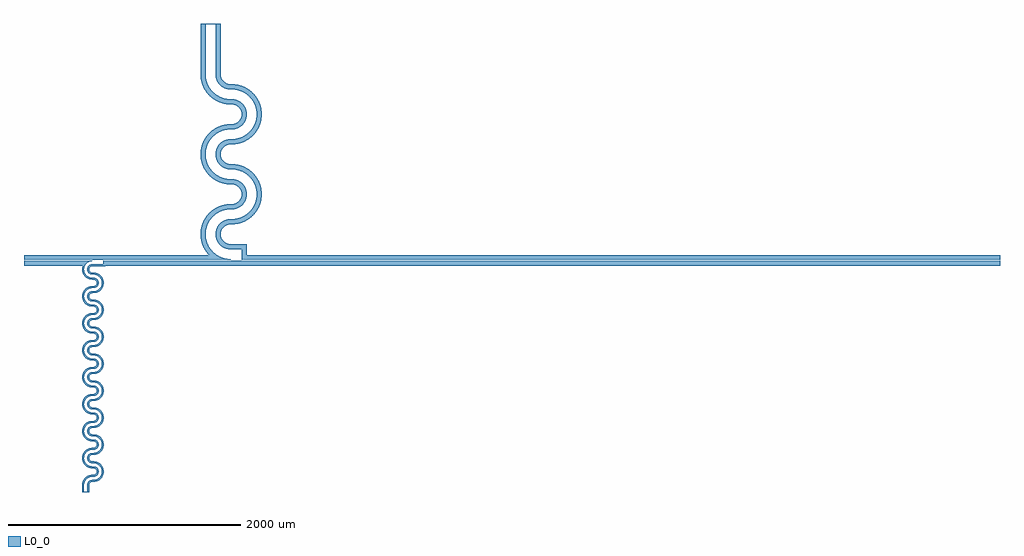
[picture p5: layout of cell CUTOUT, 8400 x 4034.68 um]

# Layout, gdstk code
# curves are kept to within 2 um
import gdstk
lib = gdstk.Library(unit=1e-6, precision=1e-09)
def R(c, l, rs):  # rectangles x0, y0, x1, y1
    for r in rs: c.add(gdstk.rectangle(r[:2], r[2:], *l))
def P(c, l, *ps):  # polygons
    for p in ps: c.add(gdstk.Polygon(p, *l))
L0_0 = (0, 0)

cutout = lib.new_cell('CUTOUT')
R(cutout, L0_0, [(800,2551.4,2363.04,2591.4), (2363.04,2551.4,2389.755,2591.4), (2363.04,4575.958,2389.755,4582.958)])
P(cutout, L0_0, [(1431.793,2271.122),(1445.737,2278.44),(1456.192,2286.38),(1456.192,2307.602),(1444.898,2295.791),(1429.351,2285.901),(1429.351,2270.154)],
  [(1431.793,2039.122),(1445.737,2046.44),(1456.192,2054.38),(1456.192,2075.602),(1444.898,2063.791),(1429.351,2053.901),(1429.351,2038.154)],
  [(1431.793,1807.122),(1445.737,1814.44),(1456.192,1822.38),(1456.192,1843.602),(1444.898,1831.791),(1429.351,1821.901),(1429.351,1806.154)],
  [(1431.793,1575.122),(1445.737,1582.44),(1456.192,1590.38),(1456.192,1611.602),(1444.898,1599.791),(1429.351,1589.901),(1429.351,1574.154)],
  [(1431.793,1343.122),(1445.737,1350.44),(1456.192,1358.38),(1456.192,1379.602),(1444.898,1367.791),(1429.351,1357.901),(1429.351,1342.154)],
  [(1431.793,1111.122),(1445.737,1118.44),(1456.192,1126.38),(1456.192,1147.602),(1444.898,1135.791),(1429.351,1125.901),(1429.351,1110.154)],
  [(1431.793,879.122),(1445.737,886.44),(1456.192,894.38),(1456.192,915.602),(1444.898,903.791),(1429.351,893.901),(1429.351,878.154)],
  [(1431.793,647.122),(1445.737,654.44),(1456.192,662.38),(1456.192,683.602),(1444.898,671.791),(1429.351,661.901),(1429.351,646.154)],
  [(2768.817,2930.364),(2808.337,2980.178),(2833.09,3033.808),(2844.996,3091.662),(2842.752,3155.21),(2833.09,3194.992),(2819.309,3228.681),(2800.925,3260.095),(2777.646,3289.314),(2713.021,3289.314),(2744.385,3261.942),(2769.887,3229.039),(2790.034,3187.934),(2800.418,3147.622),(2802.96,3110.231),(2798.127,3068.884),(2785.416,3029.243),(2765.54,2993.145),(2765.54,2927.201)],
  [(2775.199,3291.94),(2751.893,3313.656),(2722.222,3334.737),(2664.254,3360.874),(2619.794,3370.434),(2559.719,3374.365),(2526.378,3389.617),(2468.868,3389.617),(2498.975,3356.439),(2538.613,3335.56),(2563.024,3330.272),(2608.814,3328.39),(2641.63,3322.604),(2680.748,3308.366),(2713.021,3289.314),(2777.646,3289.314)],
  [(2525.241,3390.484),(2510.084,3405.641),(2499.146,3424.076),(2493.107,3444.643),(2492.342,3466.065),(2496.899,3487.011),(2506.494,3506.179),(2520.531,3522.379),(2538.138,3534.604),(2473.921,3534.604),(2458.582,3507.188),(2450.187,3475.858),(2449.872,3443.424),(2456.78,3414.279),(2468.868,3389.617)],
  [(2539.505,3535.303),(2564.243,3543.293),(2615.27,3545.845),(2655.508,3553.389),(2689.879,3565.367),(2726.089,3584.466),(2765.54,3615.201),(2765.54,3681.145),(2747.217,3657.918),(2726.199,3637.7),(2676.969,3606.672),(2625.334,3590.666),(2548.251,3583.923),(2507.113,3566.178),(2489.475,3552.231),(2473.921,3534.604)],
  [(2500.967,2732.171),(2494.305,2750.622),(2492,2770.4),(2494.305,2790.178),(2500.967,2808.629),(2500.967,2873.874),(2479.18,2853.32),(2462.721,2828.295),(2452.477,2800.149),(2449,2770.4),(2452.477,2740.651),(2462.721,2712.505),(2479.18,2687.48),(2500.967,2666.926)],
  [(2501.097,2808.895),(2512.011,2825.549),(2525.241,2838.316),(2558.222,2854.095),(2558.222,2897.874),(2529.212,2889.818),(2500.967,2873.874)],
  [(2558.222,2686.705),(2540.884,2692.822),(2524.038,2703.437),(2500.967,2732.171),(2500.967,2666.926),(2529.212,2650.982),(2558.222,2642.926)],
  [(2559.719,2854.435),(2615.27,2857.845),(2655.508,2865.389),(2698.181,2881.11),(2733.695,2901.475),(2765.54,2927.201),(2765.54,2993.145),(2747.217,2969.918),(2726.199,2949.7),(2676.969,2918.672),(2625.334,2902.666),(2558.222,2897.874)],
  [(9200,2591.4),(2718.209,2591.4),(2718.209,2684.4),(2576.465,2684.414),(2558.222,2686.705),(2558.222,2642.926),(2675.209,2641.4),(2675.209,2551.4),(9200,2551.4)],
  [(2363.04,4142.231),(2363.04,4582.958),(2320,4582.958),(2321.445,4119.13),(2335.907,4057.209),(2363.04,4003.737)],
  [(2363.04,3454.231),(2363.04,3601.063),(2344.71,3568.581),(2331.526,3534.654),(2322.567,3494.707),(2320,3458.4),(2322.567,3422.093),(2331.526,3382.146),(2344.71,3348.219),(2363.04,3315.737)],
  [(2363.04,2766.231),(2363.04,2913.063),(2344.71,2880.581),(2331.526,2846.654),(2322.567,2806.707),(2320,2770.4),(2322.567,2734.093),(2331.526,2694.146),(2344.71,2660.219),(2363.04,2627.737)],
  [(2389.755,4042.531),(2378.969,4065.087),(2370.875,4088.743),(2365.582,4113.178),(2363.04,4142.231),(2363.04,4003.737),(2389.755,3969.982)],
  [(2363.162,3466.737),(2365.582,3491.622),(2370.875,3516.057),(2378.969,3539.713),(2389.755,3562.269),(2389.755,3634.818),(2363.04,3601.063)],
  [(2389.755,3354.531),(2378.969,3377.087),(2370.875,3400.743),(2365.582,3425.178),(2363.04,3454.231),(2363.04,3315.737),(2389.755,3281.982)],
  [(2363.162,2778.737),(2365.582,2803.622),(2370.875,2828.057),(2378.969,2851.713),(2389.755,2874.269),(2389.755,2946.817),(2363.04,2913.063)],
  [(2389.755,2666.531),(2378.969,2689.087),(2370.875,2712.743),(2365.582,2737.178),(2363.04,2766.231),(2363.04,2627.737),(2389.755,2593.982)],
  [(2449.024,4582.958),(2389.755,4582.958),(2389.755,4575.958),(2449,4575.958),(2449,4146.4),(2449.024,4143.899)],
  [(2449.024,3974.39),(2416.011,4005.033),(2389.755,4042.531),(2389.755,3969.982),(2417.649,3944.283),(2449.024,3922.962)],
  [(2391.805,3565.9),(2416.011,3599.767),(2449.024,3630.41),(2449.024,3681.838),(2417.649,3660.517),(2389.755,3634.818),(2389.755,3562.269)],
  [(2449.024,3286.39),(2416.011,3317.033),(2389.755,3354.531),(2389.755,3281.982),(2417.649,3256.283),(2449.024,3234.962)],
  [(2391.805,2877.9),(2416.011,2911.767),(2449.024,2942.41),(2449.024,2993.838),(2417.649,2972.517),(2389.755,2946.817),(2389.755,2874.269)],
  [(2449.024,2598.39),(2416.011,2629.033),(2389.755,2666.531),(2389.755,2593.982),(2392.21,2591.4),(2389.755,2591.4),(2389.755,2551.4),(2449.024,2551.4)],
  [(2496.401,4119.247),(2492.013,4144.882),(2492,4582.958),(2449.024,4582.958),(2449.606,4133.911),(2454.419,4109.402),(2463.866,4086.28),(2477.591,4065.412),(2496.401,4046.494)],
  [(2496.401,3947.489),(2449.024,3974.39),(2449.024,3922.962),(2451.638,3921.463),(2496.401,3901.651)],
  [(2449.611,3630.856),(2496.401,3657.311),(2496.401,3703.149),(2449.024,3681.838)],
  [(2496.401,3259.489),(2449.024,3286.39),(2449.024,3234.962),(2451.638,3233.463),(2496.401,3213.651)],
  [(2449.611,2942.856),(2496.401,2969.311),(2496.401,3015.149),(2449.024,2993.838)],
  [(2496.401,2571.489),(2449.024,2598.39),(2449.024,2551.4),(2496.401,2551.4)],
  [(2541.693,4068.443),(2513.551,4089.459),(2496.401,4119.247),(2496.401,4046.494),(2517.88,4032.266),(2541.693,4022.62)],
  [(2541.693,3934.495),(2496.401,3947.489),(2496.401,3901.651),(2541.693,3890.967)],
  [(2496.687,3657.431),(2541.693,3670.305),(2541.693,3713.833),(2496.401,3703.149)],
  [(2541.693,3246.495),(2496.401,3259.489),(2496.401,3213.651),(2541.693,3202.967)],
  [(2496.687,2969.431),(2541.693,2982.305),(2541.693,3025.833),(2496.401,3015.149)],
  [(2541.693,2558.495),(2520.343,2563.275),(2496.401,2571.489),(2496.401,2551.4),(2541.693,2551.4)],
  [(2597.193,4060.235),(2565.898,4061.256),(2541.693,4068.443),(2541.693,4022.62),(2565.511,4018.006),(2597.193,4017.196)],
  [(2597.193,3931.067),(2541.693,3934.495),(2541.693,3890.967),(2597.193,3887.907)],
  [(2543.406,3670.59),(2597.193,3673.733),(2597.193,3716.893),(2541.693,3713.833)],
  [(2597.193,3243.067),(2541.693,3246.495),(2541.693,3202.967),(2597.193,3199.907)],
  [(2543.406,2982.59),(2597.193,2985.733),(2597.193,3028.893),(2541.693,3025.833)],
  [(2578,2555.4),(2561.339,2556.047),(2541.693,2558.495),(2541.693,2551.4),(2578,2551.4)],
  [(2632.121,4056.591),(2597.193,4060.235),(2597.193,4017.196),(2632.121,4012.815)],
  [(2632.121,3923.62),(2597.193,3931.067),(2597.193,3887.907),(2615.159,3883.999),(2632.121,3876.217)],
  [(2597.997,3673.788),(2632.121,3681.18),(2632.121,3728.583),(2615.159,3720.801),(2597.193,3716.893)],
  [(2632.121,3235.62),(2597.193,3243.067),(2597.193,3199.907),(2615.159,3195.999),(2632.121,3188.217)],
  [(2597.997,2985.788),(2632.121,2993.18),(2632.121,3040.583),(2615.159,3032.801),(2597.193,3028.893)],
  [(2662.733,4049.33),(2632.121,4056.591),(2632.121,4012.815),(2662.733,4003.984)],
  [(2662.733,3907.543),(2632.121,3923.62),(2632.121,3876.217),(2649.887,3862.116),(2662.733,3844.956)],
  [(2634.463,3682.058),(2662.733,3697.257),(2662.733,3759.844),(2649.887,3742.684),(2632.121,3728.583),(2632.121,3681.18)],
  [(2662.733,3219.543),(2632.121,3235.62),(2632.121,3188.217),(2649.887,3174.116),(2662.733,3156.956)],
  [(2634.463,2994.058),(2662.733,3009.257),(2662.733,3071.844),(2649.887,3054.684),(2632.121,3040.583),(2632.121,2993.18)],
  [(2684.492,4041.668),(2662.733,4049.33),(2662.733,4003.984),(2684.492,3994.531)],
  [(2663.012,3697.452),(2684.492,3716.792),(2684.492,3888.008),(2662.733,3907.543),(2662.733,3844.956),(2671.329,3823.668),(2674,3802.4),(2671.329,3781.132),(2662.733,3759.844)],
  [(2663.012,3009.452),(2684.492,3028.792),(2684.492,3200.008),(2662.733,3219.543),(2662.733,3156.956),(2671.329,3135.668),(2674,3114.4),(2671.329,3093.132),(2662.733,3071.844)],
  [(2735.542,4014.037),(2684.492,4041.668),(2684.492,3994.531),(2713.021,3977.314),(2735.542,3958.785)],
  [(2685.193,3717.58),(2708.342,3755.937),(2714.582,3777.54),(2717,3802.4),(2714.582,3827.26),(2708.342,3848.863),(2698.446,3869.054),(2684.492,3888.008)],
  [(2685.193,3029.58),(2708.342,3067.937),(2714.582,3089.54),(2717,3114.4),(2714.582,3139.26),(2708.342,3160.863),(2698.446,3181.054),(2684.492,3200.008)],
  [(2768.817,3618.364),(2803.463,3660.486),(2830.093,3713.209),(2844.034,3770.606),(2844.996,3825.138),(2833.09,3882.992),(2810.672,3932.712),(2778.303,3976.609),(2735.542,4014.037),(2735.542,3958.785),(2762.914,3927.421),(2781.966,3895.148),(2795.125,3860.057),(2802.353,3819.061),(2801.99,3781.586),(2796.204,3748.77),(2783.728,3713.431),(2765.54,3681.145),(2765.54,3615.201)],
  [(1385.824,2496.376),(1498.454,2496.5),(1498.454,2500),(9200,2500),(9200,2540),(1483.954,2540),(1483.954,2511),(1384.936,2510.848)],
  [(1458.132,2288.152),(1475.535,2311.069),(1484.075,2335.818),(1484.51,2364.59),(1476.721,2389.586),(1461.848,2411.132),(1438.931,2428.535),(1414.182,2437.075),(1384.936,2438.72),(1384.936,2424.152),(1412.791,2422.578),(1433.006,2415.262),(1451.84,2400.603),(1463.894,2382.802),(1469.332,2366.964),(1470.911,2347.905),(1466.673,2326.829),(1456.192,2307.602),(1456.192,2286.38)],
  [(1458.132,2056.152),(1472.953,2074.492),(1482.972,2098.68),(1485.341,2124.753),(1480.741,2147.88),(1468.574,2171.062),(1448.047,2191.011),(1410.433,2191.011),(1428.717,2185.403),(1444.898,2175.209),(1457.85,2161.139),(1466.673,2144.171),(1470.199,2130.249),(1470.752,2113.513),(1465.82,2092.588),(1456.192,2075.602),(1456.192,2054.38)],
  [(1447.922,2191.1),(1434.206,2198.835),(1419.32,2203.972),(1378.013,2208.462),(1365.358,2218.024),(1359.624,2232.824),(1345.088,2232.824),(1347.596,2220.697),(1352.89,2210.517),(1361.782,2201.172),(1371.687,2195.38),(1385.625,2192.095)],
  [(1359.555,2233.715),(1362.155,2247.621),(1371.024,2258.642),(1383.171,2264.006),(1408.987,2265.134),(1429.351,2270.154),(1429.351,2285.901),(1410.433,2279.989),(1378.52,2277.84),(1362.931,2270.692),(1350.59,2256.833),(1345.149,2239.092),(1345.088,2232.824)],
  [(1458.132,1824.152),(1472.953,1842.492),(1482.305,1864.138),(1485.5,1887.5),(1481.561,1913.383),(1468.574,1939.062),(1449.372,1958.066),(1415.133,1958.066),(1430.879,1952.368),(1446.714,1941.645),(1459.195,1927.154),(1467.452,1909.904),(1470.515,1895.873),(1470.515,1879.127),(1465.82,1860.588),(1456.192,1843.602),(1456.192,1822.38)],
  [(1447.922,1959.1),(1434.206,1966.835),(1419.32,1971.972),(1377.196,1976.794),(1364.83,1986.745),(1359.584,2001.343),(1345.054,2001.343),(1347.596,1988.697),(1352.89,1978.517),(1361.782,1969.172),(1371.687,1963.38),(1382.763,1960.38),(1415.133,1958.066)],
  [(1359.555,2001.715),(1362.155,2015.621),(1371.024,2026.642),(1383.171,2032.006),(1408.987,2033.134),(1429.351,2038.154),(1429.351,2053.901),(1410.433,2047.989),(1378.52,2045.84),(1362.931,2038.692),(1350.59,2024.833),(1345.149,2007.092),(1345.054,2001.343)],
  [(1458.132,1592.152),(1472.953,1610.492),(1482.972,1634.68),(1485.341,1660.753),(1480.741,1683.88),(1468.574,1707.062),(1448.654,1726.578),(1412.791,1726.578),(1430.879,1720.368),(1446.714,1709.645),(1459.195,1695.154),(1467.452,1677.904),(1470.515,1663.873),(1470.515,1647.127),(1465.82,1628.588),(1456.192,1611.602),(1456.192,1590.38)],
  [(1447.922,1727.1),(1434.206,1734.835),(1419.32,1739.972),(1377.196,1744.794),(1364.83,1754.745),(1359.555,1769.715),(1345.042,1769.715),(1347.129,1758.058),(1352.89,1746.517),(1361.782,1737.172),(1371.687,1731.38),(1385.625,1728.095)],
  [(1359.514,1770.607),(1363.385,1786),(1375.574,1797.46),(1384.936,1800.28),(1411.59,1801.49),(1429.351,1806.154),(1429.351,1821.901),(1410.433,1815.989),(1378.52,1813.84),(1362.931,1806.692),(1350.59,1792.833),(1345.149,1775.092),(1345.042,1769.715)],
  [(1458.132,1360.152),(1474.161,1380.56),(1482.972,1402.68),(1485.341,1428.753),(1480.741,1451.88),(1468.574,1475.062),(1448.654,1494.578),(1412.791,1494.578),(1430.879,1488.368),(1446.714,1477.645),(1459.195,1463.154),(1467.452,1445.904),(1470.515,1431.873),(1470.515,1415.127),(1465.82,1396.588),(1456.192,1379.602),(1456.192,1358.38)],
  [(1447.922,1495.1),(1434.206,1502.835),(1419.32,1507.972),(1377.196,1512.794),(1364.83,1522.745),(1359.555,1537.715),(1345.042,1537.715),(1347.129,1526.058),(1352.89,1514.517),(1361.782,1505.172),(1371.687,1499.38),(1385.625,1496.095)],
  [(1359.514,1538.607),(1363.385,1554),(1375.574,1565.46),(1384.936,1568.28),(1411.59,1569.49),(1429.351,1574.154),(1429.351,1589.901),(1410.433,1583.989),(1378.52,1581.84),(1362.931,1574.692),(1350.59,1560.833),(1345.149,1543.092),(1345.042,1537.715)],
  [(1458.132,1128.152),(1472.953,1146.492),(1482.972,1170.68),(1485.341,1196.753),(1479.846,1222.351),(1466.985,1245.155),(1447.73,1263.228),(1408.987,1263.228),(1428.717,1257.403),(1444.898,1247.209),(1457.85,1233.139),(1466.673,1216.171),(1470.199,1202.249),(1470.752,1185.513),(1465.82,1164.588),(1456.192,1147.602),(1456.192,1126.38)],
  [(1445.737,1264.56),(1431.793,1271.878),(1419.32,1275.972),(1384.936,1278.72),(1377.196,1280.794),(1369.632,1285.477),(1364.326,1291.481),(1359.511,1306.781),(1345.006,1306.781),(1346.707,1295.433),(1352.083,1283.708),(1360.661,1274.075),(1371.687,1267.38),(1387.062,1264.024),(1447.73,1263.228)],
  [(1359.5,1307.5),(1363.844,1322.767),(1375.574,1333.46),(1384.936,1336.28),(1411.59,1337.49),(1429.351,1342.154),(1429.351,1357.901),(1410.433,1351.989),(1378.52,1349.84),(1362.931,1342.692),(1350.59,1328.833),(1345.149,1311.092),(1345.006,1306.781)],
  [(1458.132,896.152),(1472.953,914.492),(1482.972,938.68),(1485.341,964.753),(1479.846,990.351),(1466.985,1013.155),(1447.73,1031.228),(1408.987,1031.228),(1428.717,1025.403),(1444.898,1015.209),(1457.85,1001.139),(1466.673,984.171),(1470.199,970.249),(1470.752,953.513),(1465.82,932.588),(1456.192,915.602),(1456.192,894.38)],
  [(1445.737,1032.56),(1431.793,1039.878),(1419.32,1043.972),(1384.936,1046.72),(1377.196,1048.794),(1364.83,1058.745),(1359.555,1073.715),(1345.042,1073.715),(1347.129,1062.058),(1352.89,1050.517),(1361.782,1041.172),(1371.687,1035.38),(1387.062,1032.024),(1447.73,1031.228)],
  [(1359.514,1074.607),(1363.385,1090),(1375.574,1101.46),(1384.936,1104.28),(1411.59,1105.49),(1429.351,1110.154),(1429.351,1125.901),(1410.433,1119.989),(1378.52,1117.84),(1362.931,1110.692),(1350.59,1096.833),(1345.149,1079.092),(1345.042,1073.715)],
  [(1458.132,664.152),(1474.278,684.761),(1483.562,709.24),(1485.143,735.373),(1478.878,760.793),(1465.333,783.199),(1446.813,799.841),(1403.292,799.841),(1422.041,796.072),(1441.114,786.154),(1454.969,772.97),(1465.82,754.412),(1470.199,738.249),(1470.752,721.513),(1465.82,700.588),(1456.192,683.602),(1456.192,662.38)],
  [(1445.737,800.56),(1431.793,807.878),(1419.32,811.972),(1384.936,814.72),(1377.196,816.794),(1369.632,821.477),(1364.326,827.481),(1359.511,842.781),(1345.006,842.781),(1346.707,831.433),(1352.083,819.708),(1360.661,810.075),(1371.687,803.38),(1387.062,800.024)],
  [(1359.5,843.5),(1363.844,858.767),(1375.574,869.46),(1384.936,872.28),(1411.59,873.49),(1429.351,878.154),(1429.351,893.901),(1410.433,887.989),(1378.52,885.84),(1362.931,878.692),(1350.59,864.833),(1345.149,847.092),(1345.006,842.781)],
  [(1359.5,611.5),(1363.682,626.503),(1375.805,637.574),(1385.004,640.289),(1411.59,641.49),(1429.351,646.154),(1429.351,661.901),(1410.433,655.989),(1375.612,653.047),(1363.881,647.363),(1354.361,638.459),(1348.452,628.482),(1345.218,615.854),(1345,555.281),(1316,555.281),(1317.453,625.941),(1323.792,644.198),(1336.385,661.901),(1317.598,661.901),(1308.122,644.793),(1302.49,624.59),(1301.5,548.281),(1359.5,548.281)],
  [(1338.099,663.615),(1349.489,672.61),(1364.718,679.989),(1381.243,683.636),(1407.075,684.853),(1424.069,692.308),(1433.265,701.353),(1439.404,712.697),(1441.851,723.908),(1440.999,736.779),(1425.971,736.779),(1427.486,726.607),(1425.542,717.024),(1420.523,708.632),(1412.22,701.951),(1402.064,698.72),(1367.68,695.972),(1352.794,690.835),(1339.078,683.1),(1326.982,673.018),(1317.598,661.901),(1336.385,661.901)],
  [(1440.669,738.179),(1433.265,753.647),(1420.457,765.052),(1407.075,770.147),(1376.567,771.989),(1358.283,777.597),(1345.886,784.846),(1335.16,794.397),(1326.528,805.875),(1320.327,818.829),(1305.081,818.829),(1311.465,803.069),(1320.015,789.845),(1330.808,778.38),(1343.492,769.047),(1370.24,758.438),(1407.291,755.135),(1418.688,748.319),(1425.971,736.779),(1440.999,736.779)],
  [(1319.548,821.096),(1316.089,839.905),(1318.218,861.298),(1325.317,879.056),(1336.813,894.34),(1349.855,904.842),(1367.239,912.813),(1381.319,915.644),(1404.237,916.38),(1415.313,919.38),(1427.429,927.013),(1435.683,936.925),(1416.703,936.925),(1403.829,930.994),(1380.627,930.143),(1365.138,927.305),(1343.492,917.953),(1326.982,905.018),(1310.279,881.586),(1304.695,866.862),(1301.857,851.373),(1301.857,835.627),(1305.081,818.829),(1320.327,818.829)],
  [(1436.41,938.167),(1441.709,954.476),(1440.669,970.179),(1434.11,984.483),(1422.891,995.518),(1413.977,1000.154),(1402.808,1002.786),(1338.346,1004.422),(1350.414,997.279),(1365.138,991.695),(1380.627,988.857),(1402.948,988.157),(1414.519,983.674),(1423.615,974),(1427.445,961.285),(1425.206,948.196),(1416.703,936.925)],
  [(1371.867,1004.934),(1358.283,1009.597),(1345.718,1016.972),(1333.566,1028.188),(1325.317,1039.944),(1319.548,1053.096),(1316.485,1067.127),(1316.485,1083.873),(1319.548,1097.904),(1325.317,1111.056),(1332.031,1120.97),(1342.102,1131.209),(1353.994,1139.262),(1374.209,1146.578),(1404.237,1148.38),(1417.927,1152.579),(1348.156,1152.579),(1334.845,1143.985),(1321.667,1131.199),(1311.465,1115.931),(1305.439,1101.383),(1301.857,1083.373),(1302.49,1062.41),(1308.122,1042.207),(1316.9,1026.078),(1326.982,1013.982),(1338.346,1004.422)],
  [(1419.204,1153.243),(1432.381,1164.218),(1440.293,1179.433),(1441.709,1196.524),(1437.094,1211.568),(1430.774,1220.659),(1383.247,1220.659),(1405.573,1219.624),(1413,1216.615),(1419.319,1211.688),(1424.46,1204.426),(1427.157,1195.948),(1427.157,1187.052),(1424.46,1178.574),(1417.368,1169.477),(1408.138,1164.149),(1372.818,1161.075),(1360.12,1157.741),(1348.156,1152.579)],
  [(1430.504,1220.962),(1420.457,1229.052),(1409.874,1233.487),(1378.938,1235.633),(1360.479,1240.634),(1345.886,1248.846),(1333.566,1260.188),(1321.18,1280.588),(1316.01,1306.301),(1320.327,1332.171),(1333.503,1354.737),(1315.44,1354.737),(1304.028,1328.32),(1301.857,1299.627),(1308.122,1274.207),(1323.38,1249.808),(1341.263,1234.44),(1365.138,1223.695),(1383.247,1220.659)],
  [(1333.566,1354.812),(1347.848,1367.531),(1362.705,1375.256),(1378.938,1379.367),(1407.075,1380.853),(1424.069,1388.308),(1433.265,1397.353),(1439.404,1408.697),(1441.851,1419.908),(1440.999,1432.779),(1425.971,1432.779),(1427.486,1422.607),(1425.542,1413.024),(1420.523,1404.632),(1412.22,1397.951),(1402.948,1394.843),(1380.627,1394.143),(1365.138,1391.305),(1350.414,1385.721),(1336.938,1377.574),(1325.152,1367.132),(1315.44,1354.737)],
  [(1440.669,1434.179),(1433.265,1449.647),(1420.457,1461.052),(1407.075,1466.147),(1376.567,1467.989),(1358.283,1473.597),(1345.886,1480.846),(1335.16,1490.397),(1320.788,1513.617),(1305.439,1513.617),(1311.465,1499.069),(1320.015,1485.845),(1330.808,1474.38),(1343.492,1465.047),(1370.24,1454.438),(1407.291,1451.135),(1418.688,1444.319),(1425.971,1432.779),(1440.999,1432.779)],
  [(1320.327,1514.829),(1316.089,1535.905),(1317.668,1554.964),(1325.317,1575.056),(1336.813,1590.34),(1349.855,1600.842),(1367.239,1608.813),(1381.319,1611.644),(1404.237,1612.38),(1415.313,1615.38),(1425.218,1621.172),(1434.11,1630.517),(1413.221,1630.517),(1402.948,1626.843),(1380.627,1626.143),(1365.138,1623.305),(1343.492,1613.953),(1326.982,1601.018),(1310.279,1577.586),(1304.695,1562.862),(1301.857,1547.373),(1301.954,1530.709),(1305.439,1513.617)],
  [(1434.917,1631.708),(1440.999,1646.221),(1441.282,1663.368),(1434.917,1679.292),(1424.069,1690.692),(1413.977,1696.154),(1402.808,1698.786),(1340.278,1699.098),(1365.138,1687.695),(1380.627,1684.857),(1402.948,1684.157),(1415.255,1679.17),(1424.46,1668.426),(1427.486,1654.607),(1423.615,1641),(1413.221,1630.517)],
  [(1384.192,1699.135),(1369.543,1701.522),(1356.121,1706.632),(1343.97,1714.287),(1333.566,1724.188),(1325.317,1735.944),(1319.548,1749.096),(1316.485,1763.127),(1316.485,1779.873),(1319.548,1793.904),(1325.317,1807.056),(1335.16,1820.603),(1345.886,1830.154),(1358.283,1837.403),(1371.867,1842.066),(1402.808,1844.214),(1340.745,1844.214),(1328.868,1834.848),(1320.015,1825.155),(1311.465,1811.931),(1306.259,1799.88),(1302.49,1784.59),(1301.5,1771.5),(1305.439,1745.617),(1310.279,1733.414),(1318.426,1719.938),(1328.868,1708.152),(1340.278,1699.098)],
  [(1403.292,1844.27),(1415.313,1847.38),(1425.218,1853.172),(1433.265,1861.353),(1438.892,1871.353),(1441.709,1882.476),(1441.519,1893.949),(1438.336,1904.974),(1432.324,1914.851),(1408.138,1914.851),(1420.523,1906.368),(1427.157,1891.948),(1425.542,1877.024),(1415.976,1864.358),(1403.829,1858.994),(1380.627,1858.143),(1365.138,1855.305),(1340.745,1844.214)],
  [(1431.461,1915.887),(1424.069,1922.692),(1413.977,1928.154),(1369.543,1933.522),(1353.994,1939.738),(1340.286,1949.355),(1326.528,1965.875),(1318.218,1985.702),(1316.089,2007.095),(1320.327,2028.171),(1305.082,2028.171),(1301.5,2003.5),(1304.695,1980.138),(1315.44,1956.263),(1330.808,1938.38),(1350.414,1925.279),(1370.24,1918.438),(1408.138,1914.851)],
  [(1321.18,2030.412),(1335.16,2052.603),(1353.994,2067.262),(1376.567,2075.011),(1408.48,2077.16),(1424.069,2084.308),(1436.41,2098.167),(1441.766,2115.052),(1427.157,2115.052),(1421.093,2101.319),(1408.987,2092.462),(1367.68,2087.972),(1352.794,2082.835),(1339.078,2075.1),(1320.015,2057.155),(1308.122,2036.793),(1305.082,2028.171),(1320.327,2028.171)],
  [(1441.851,2115.908),(1440.999,2128.779),(1436.41,2140.833),(1429.512,2150.004),(1419.204,2157.757),(1405.66,2162.407),(1369.543,2165.522),(1351.904,2172.914),(1335.464,2186.078),(1316.9,2186.078),(1334.845,2167.015),(1355.207,2155.122),(1372.818,2149.925),(1402.064,2148.28),(1413,2144.615),(1424.46,2132.426),(1427.157,2123.948),(1427.157,2115.052)],
  [(1335.16,2186.397),(1322.106,2206.377),(1316.089,2231.905),(1318.845,2255.612),(1329.15,2277.139),(1342.102,2291.209),(1358.283,2301.403),(1376.567,2307.011),(1411.256,2309.912),(1421.687,2314.695),(1430.88,2322.46),(1383.247,2322.341),(1360.12,2317.741),(1334.845,2303.985),(1316.9,2284.922),(1308.122,2268.793),(1303.438,2253.76),(1301.5,2235.5),(1302.925,2219.818),(1308.122,2202.207),(1316.9,2186.078)],
  [(1431.461,2323.113),(1439.871,2338.058),(1441.851,2355.092),(1437.094,2371.568),(1426.339,2384.925),(1419.204,2389.757),(1349.469,2389.757),(1372.818,2381.925),(1404.704,2379.829),(1416.681,2374.093),(1423.615,2366),(1427.006,2356.829),(1427.157,2347.052),(1423.615,2337),(1417.368,2329.477),(1408.987,2324.462),(1401.176,2322.624),(1385.872,2322.46)],
  [(1417.927,2390.421),(1404.237,2394.62),(1371.867,2396.934),(1349.855,2406.158),(1327.805,2427.846),(1317.196,2454.386),(1318.218,2485.298),(1332.031,2512.97),(1356.496,2532.548),(1388.5,2540),(800,2540),(800,2500),(1307.808,2500),(1301.857,2475.373),(1303.438,2449.24),(1311.465,2427.069),(1326.982,2405.982),(1349.469,2389.757)],
  [(1384.936,2438.72),(1375.574,2441.54),(1367.069,2447.963),(1361.458,2457.024),(1359.514,2466.607),(1345.012,2466.607),(1346.707,2455.433),(1350.59,2446.167),(1356.496,2438.038),(1364.109,2431.482),(1374.376,2426.357),(1384.936,2424.152)],
  [(1359.5,2467.5),(1361.458,2477.976),(1366.477,2486.368),(1374.78,2493.049),(1384.936,2496.28),(1384.936,2510.848),(1374.376,2508.643),(1365.313,2504.305),(1357.488,2498.004),(1351.317,2490.075),(1346.331,2478.179),(1345.012,2466.607)])

lib.write_gds('CUTOUT.gds')
